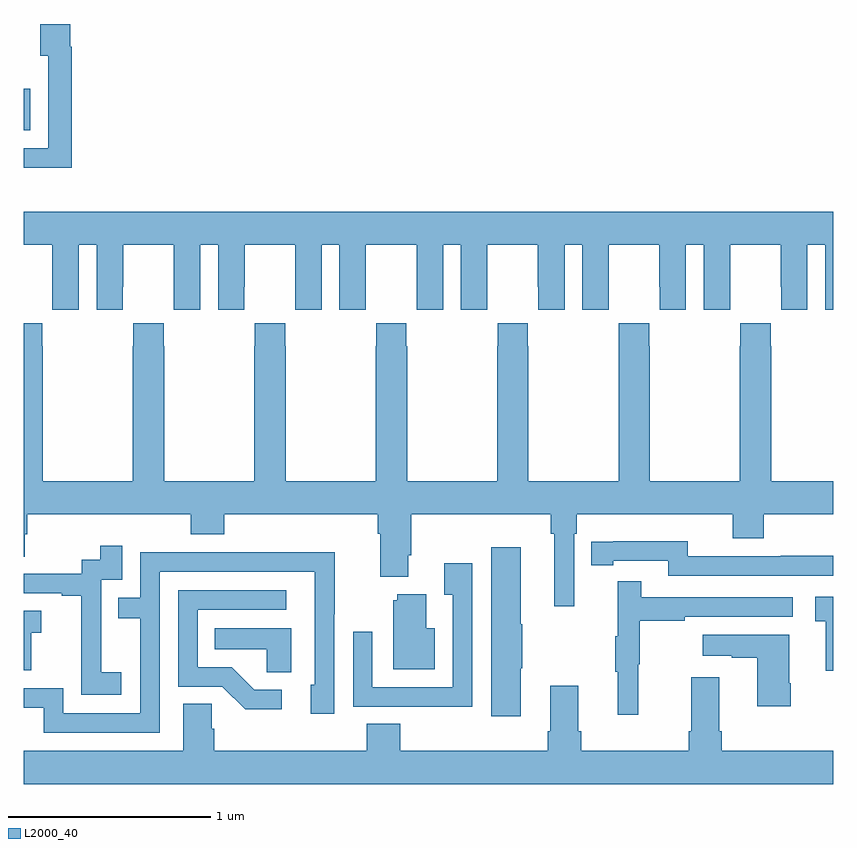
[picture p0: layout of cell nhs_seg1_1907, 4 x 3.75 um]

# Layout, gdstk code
import gdstk
lib = gdstk.Library(unit=1e-6, precision=1e-09)
def R(c, l, rs):  # rectangles x0, y0, x1, y1
    for r in rs: c.add(gdstk.rectangle(r[:2], r[2:], *l))
def P(c, l, *ps):  # polygons
    for p in ps: c.add(gdstk.Polygon(p, *l))
L2000_40 = (2000, 40)

nhs_seg1_1907 = lib.new_cell('nhs_seg1_1907')
R(nhs_seg1_1907, L2000_40, [(215,537.647,215.032,537.85)])
P(nhs_seg1_1907, L2000_40, [(215.237,538.058),(215.23,538.058),(215.23,538.171),(215.081,538.171),(215.081,538.015),(215.121,538.015),(215.121,537.558),(215,537.558),(215,537.461),(215.237,537.461)],
  [(215.272,537.08),(215.36,537.08),(215.36,536.76),(215.49,536.76),(215.49,536.872),(215.491,536.872),(215.491,537.08),(215.741,537.08),(215.741,536.872),(215.742,536.872),(215.742,536.76),(215.872,536.76),(215.872,537.08),(215.96,537.08),(215.96,536.76),(216.09,536.76),(216.09,536.872),(216.091,536.872),(216.091,537.08),(216.341,537.08),(216.341,536.872),(216.342,536.872),(216.342,536.76),(216.472,536.76),(216.472,537.08),(216.56,537.08),(216.56,536.76),(216.69,536.76),(216.69,536.872),(216.691,536.872),(216.691,537.08),(216.941,537.08),(216.941,536.872),(216.942,536.872),(216.942,536.76),(217.072,536.76),(217.072,537.08),(217.16,537.08),(217.16,536.76),(217.29,536.76),(217.29,536.872),(217.291,536.872),(217.291,537.08),(217.541,537.08),(217.541,536.872),(217.542,536.872),(217.542,536.76),(217.672,536.76),(217.672,537.08),(217.76,537.08),(217.76,536.76),(217.89,536.76),(217.89,536.872),(217.891,536.872),(217.891,537.08),(218.141,537.08),(218.141,536.872),(218.142,536.872),(218.142,536.76),(218.272,536.76),(218.272,537.08),(218.36,537.08),(218.36,536.76),(218.49,536.76),(218.49,536.872),(218.491,536.872),(218.491,537.08),(218.741,537.08),(218.741,536.872),(218.742,536.872),(218.742,536.76),(218.872,536.76),(218.872,537.08),(218.96,537.08),(218.96,536.76),(219,536.76),(219,537.244),(215,537.244),(215,537.08),(215.141,537.08),(215.141,536.872),(215.142,536.872),(215.142,536.76),(215.272,536.76)],
  [(217.719,535.652),(217.733,535.652),(217.733,535.748),(218.504,535.748),(218.504,535.631),(218.657,535.631),(218.657,535.748),(219,535.748),(219,535.912),(218.694,535.912),(218.694,536.579),(218.691,536.579),(218.691,536.692),(218.541,536.692),(218.541,536.579),(218.539,536.579),(218.539,535.912),(218.094,535.912),(218.094,536.579),(218.091,536.579),(218.091,536.692),(217.941,536.692),(217.941,536.579),(217.939,536.579),(217.939,535.912),(217.494,535.912),(217.494,536.579),(217.491,536.579),(217.491,536.692),(217.341,536.692),(217.341,536.579),(217.339,536.579),(217.339,535.912),(216.894,535.912),(216.894,536.579),(216.891,536.579),(216.891,536.692),(216.741,536.692),(216.741,536.579),(216.739,536.579),(216.739,535.912),(216.294,535.912),(216.294,536.579),(216.291,536.579),(216.291,536.692),(216.141,536.692),(216.141,536.579),(216.139,536.579),(216.139,535.912),(215.694,535.912),(215.694,536.579),(215.691,536.579),(215.691,536.692),(215.541,536.692),(215.541,536.579),(215.539,536.579),(215.539,535.912),(215.094,535.912),(215.094,536.579),(215.091,536.579),(215.091,536.692),(215,536.692),(215,535.54),(215.005,535.54),(215.005,535.65),(215.018,535.65),(215.018,535.748),(215.825,535.748),(215.825,535.649),(215.99,535.649),(215.99,535.748),(216.749,535.748),(216.749,535.652),(216.761,535.652),(216.761,535.439),(216.901,535.439),(216.901,535.546),(216.914,535.546),(216.914,535.748),(217.603,535.748),(217.603,535.652),(217.622,535.652),(217.622,535.293),(217.719,535.293)],
  [(219,535.544),(218.74,535.544),(218.74,535.542),(218.28,535.542),(218.28,535.615),(217.912,535.615),(217.912,535.614),(217.804,535.614),(217.804,535.498),(217.912,535.498),(217.912,535.518),(218.184,535.518),(218.184,535.446),(219,535.446)],
  [(215.482,534.967),(215.384,534.967),(215.384,535.196),(215.382,535.196),(215.382,535.425),(215.487,535.425),(215.487,535.594),(215.379,535.594),(215.379,535.524),(215.286,535.524),(215.286,535.455),(215,535.455),(215,535.359),(215.189,535.359),(215.189,535.347),(215.285,535.347),(215.285,535.063),(215.284,535.063),(215.284,534.857),(215.482,534.857)],
  [(217.456,534.988),(217.464,534.988),(217.464,535.205),(217.456,535.205),(217.456,535.585),(217.31,535.585),(217.31,534.75),(217.456,534.75)],
  [(215.673,535.464),(216.438,535.464),(216.438,534.906),(216.419,534.906),(216.419,534.762),(216.534,534.762),(216.534,535.255),(216.537,535.255),(216.537,535.562),(216.073,535.562),(216.073,535.56),(215.577,535.56),(215.577,535.335),(215.467,535.335),(215.467,535.234),(215.577,535.234),(215.577,534.765),(215.196,534.765),(215.196,534.888),(215,534.888),(215,534.792),(215.099,534.792),(215.099,534.669),(215.673,534.669)],
  [(217.215,535.507),(217.079,535.507),(217.079,535.351),(217.119,535.351),(217.119,534.894),(216.723,534.894),(216.723,535.168),(216.627,535.168),(216.627,534.798),(216.943,534.798),(216.943,534.797),(217.215,534.797)],
  [(218.036,535.008),(218.044,535.008),(218.044,535.222),(218.267,535.222),(218.267,535.242),(218.8,535.242),(218.8,535.338),(218.051,535.338),(218.051,535.417),(217.934,535.417),(217.934,535.145),(217.923,535.145),(217.923,534.971),(217.934,534.971),(217.934,534.759),(218.036,534.759)],
  [(216.274,534.882),(216.139,534.882),(216.028,534.993),(215.859,534.993),(215.859,535.278),(216.298,535.278),(216.298,535.374),(215.763,535.374),(215.763,534.897),(215.982,534.897),(216.095,534.785),(216.274,534.785)],
  [(217.03,535.186),(216.988,535.186),(216.988,535.354),(216.845,535.354),(216.845,535.323),(216.827,535.323),(216.827,534.983),(217.03,534.983)],
  [(219,535.342),(218.91,535.342),(218.91,535.221),(218.963,535.221),(218.963,534.975),(219,534.975)],
  [(215.037,535.163),(215.086,535.163),(215.086,535.273),(215,535.273),(215,534.978),(215.037,534.978)],
  [(216.322,535.186),(215.944,535.186),(215.944,535.082),(216.201,535.082),(216.201,534.967),(216.322,534.967)],
  [(218.79,534.913),(218.782,534.913),(218.782,535.153),(218.355,535.153),(218.355,535.049),(218.498,535.049),(218.498,535.039),(218.624,535.039),(218.624,534.801),(218.79,534.801)],
  [(219,534.58),(218.45,534.58),(218.45,534.676),(218.437,534.676),(218.437,534.943),(218.297,534.943),(218.297,534.676),(218.285,534.676),(218.285,534.58),(217.754,534.58),(217.754,534.676),(217.741,534.676),(217.741,534.901),(217.601,534.901),(217.601,534.676),(217.589,534.676),(217.589,534.58),(216.86,534.58),(216.86,534.713),(216.695,534.713),(216.695,534.58),(215.942,534.58),(215.942,534.689),(215.928,534.689),(215.928,534.812),(215.789,534.812),(215.789,534.58),(215,534.58),(215,534.416),(219,534.416)])

lib.write_gds('nhs_seg1_1907.gds')
